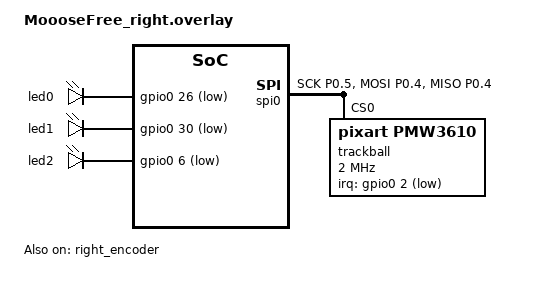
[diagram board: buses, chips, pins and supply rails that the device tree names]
#include <zephyr/dt-bindings/input/input-event-codes.h>
#include <input/processors.dtsi>
#include "MoooseFree.dtsi"

&default_transform {
    row-offset = <7>;
};

&xiao_serial { status = "disabled"; };

&right_encoder {
    status = "okay";
};

&left_encoder {
    status = "disabled";
};

/ {
    aliases {
        led-red = &led0;
        led-green = &led1;
        led-blue = &led2;
    };

    leds {
        compatible = "gpio-leds";
        status = "okay";
        led0: led_0 {
            gpios = <&gpio0 26 GPIO_ACTIVE_LOW>;  // red LED, connected to P0.26
        };
        led1: led_1 {
            gpios = <&gpio0 30 GPIO_ACTIVE_LOW>;  // green LED, connected to P0.30
        };
        led2: led_2 {
            gpios = <&gpio0 6 GPIO_ACTIVE_LOW>;  // blue LED, connected to P0.06
        };
    };
};

&pinctrl {
    spi0_default: spi0_default {
        group1 {
            psels = <NRF_PSEL(SPIM_SCK, 0, 5)>,
                <NRF_PSEL(SPIM_MOSI, 0, 4)>,
                <NRF_PSEL(SPIM_MISO, 0, 4)>;
        };
    };

    spi0_sleep: spi0_sleep {
        group1 {
            psels = <NRF_PSEL(SPIM_SCK, 0, 5)>,
                <NRF_PSEL(SPIM_MOSI, 0, 4)>,
                <NRF_PSEL(SPIM_MISO, 0, 4)>;
            low-power-enable;
        };
    };
};


&spi0 {
    status = "okay";
    compatible = "nordic,nrf-spim";
    pinctrl-0 = <&spi0_default>;
    pinctrl-1 = <&spi0_sleep>;
    pinctrl-names = "default", "sleep";

    trackball: trackball@0 {
        status = "okay";
        compatible = "pixart,pmw3610";
        reg = <0>;
        spi-max-frequency = <2000000>;
        irq-gpios = <&gpio0 2 (GPIO_ACTIVE_LOW | GPIO_PULL_UP)>;
        cpi = <600>;
        evt-type = <INPUT_EV_REL>;
        x-input-code = <INPUT_REL_X>;
        y-input-code = <INPUT_REL_Y>;
        // disable force-awake
        // force-awake;
        disable-burst-read;
    };
};
